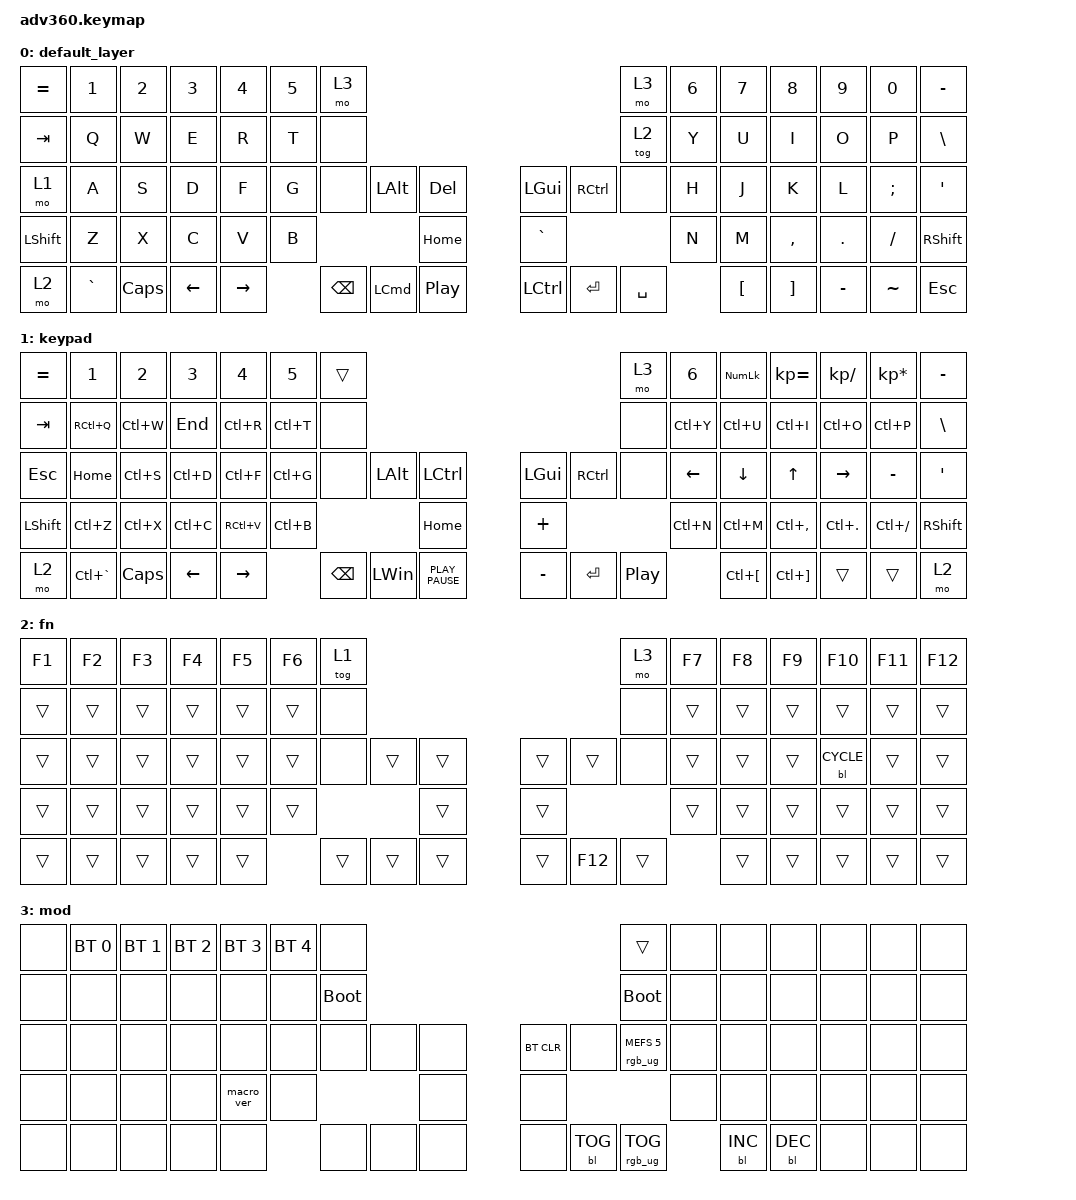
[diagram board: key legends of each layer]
#include <behaviors.dtsi>
#include <dt-bindings/zmk/backlight.h>
#include <dt-bindings/zmk/bt.h>
#include <dt-bindings/zmk/keys.h>
#include <dt-bindings/zmk/rgb.h>

/ {
    behaviors {
        #include "macros.dtsi"
      #include "version.dtsi"
      #ifndef VERSION_MACRO

        macro_ver: macro_ver {
            compatible = "zmk,behavior-macro";
            label = "macro_version";
            #binding-cells = <0>;
            bindings = <&kp RET>;
        };

        #endif

        hm: homerow_mods {
            compatible = "zmk,behavior-hold-tap";
            label = "HOMEROW_MODS";
            #binding-cells = <2>;
            tapping-term-ms = <200>;
            quick_tap_ms = <175>;
            flavor = "tap-preferred";
            bindings = <&kp>, <&kp>;
        };
    };

    macros {
    };

    keymap {
        compatible = "zmk,keymap";

        default_layer {
            bindings = <
&kp EQUAL  &kp N1     &kp N2    &kp N3    &kp N4     &kp N5  &mo 3                                                                      &mo 3      &kp N6  &kp N7            &kp N8             &kp N9     &kp N0     &kp MINUS
&kp TAB    &kp Q      &kp W     &kp E     &kp R      &kp T   &none                                                                      &tog 2     &kp Y   &kp U             &kp I              &kp O      &kp P      &kp BSLH
&mo 1      &kp A      &kp S     &kp D     &kp F      &kp G   &none     &kp LEFT_ALT  &kp DEL               &kp LGUI          &kp RCTRL  &none      &kp H   &kp J             &kp K              &kp L      &kp SEMI   &kp SQT
&kp LSHFT  &kp Z      &kp X     &kp C     &kp V      &kp B                           &kp HOME              &kp GRAVE                               &kp N   &kp M             &kp COMMA          &kp DOT    &kp FSLH   &kp RSHFT
&mo 2      &kp GRAVE  &kp CAPS  &kp LEFT  &kp RIGHT          &kp BSPC  &kp LCMD      &kp C_PLAY_PAUSE      &kp LEFT_CONTROL  &kp ENTER  &kp SPACE          &kp LEFT_BRACKET  &kp RIGHT_BRACKET  &kp MINUS  &kp TILDE  &kp ESCAPE
            >;
        };

        keypad {
            bindings = <
&kp EQUAL  &kp N1         &kp N2     &kp N3     &kp N4     &kp N5     &trans                                                              &mo 3             &kp N6     &kp KP_NUM            &kp KP_EQUAL           &kp KP_DIVIDE   &kp KP_MULTIPLY  &kp MINUS
&kp TAB    &kp RC(Q)      &kp LC(W)  &kp END    &kp LC(R)  &kp LC(T)  &none                                                               &none             &kp LC(Y)  &kp LC(U)             &kp LC(I)              &kp LC(O)       &kp LC(P)        &kp BSLH
&kp ESC    &kp HOME       &kp LC(S)  &kp LC(D)  &kp LC(F)  &kp LC(G)  &none     &kp LEFT_ALT  &kp LEFT_CONTROL      &kp LGUI   &kp RCTRL  &none             &kp LEFT   &kp DOWN              &kp UP_ARROW           &kp RIGHT       &kp MINUS        &kp SQT
&kp LSHFT  &kp LC(Z)      &kp LC(X)  &kp LC(C)  &kp RC(V)  &kp LC(B)                          &kp HOME              &kp PLUS                                &kp LC(N)  &kp LC(M)             &kp LC(COMMA)          &kp LC(PERIOD)  &kp LC(SLASH)    &kp RSHFT
&mo 2      &kp LC(GRAVE)  &kp CAPS   &kp LEFT   &kp RIGHT             &kp BSPC  &kp LEFT_WIN  &kp K_PLAY_PAUSE      &kp MINUS  &kp ENTER  &kp C_PLAY_PAUSE             &kp LC(LEFT_BRACKET)  &kp LC(RIGHT_BRACKET)  &trans          &trans           &mo 2
            >;
        };

        fn {
            bindings = <
&kp F1  &kp F2  &kp F3  &kp F4  &kp F5  &kp F6  &tog 1                                       &mo 3   &kp F7  &kp F8  &kp F9  &kp F10       &kp F11  &kp F12
&trans  &trans  &trans  &trans  &trans  &trans  &none                                        &none   &trans  &trans  &trans  &trans        &trans   &trans
&trans  &trans  &trans  &trans  &trans  &trans  &none   &trans  &trans      &trans  &trans   &none   &trans  &trans  &trans  &bl BL_CYCLE  &trans   &trans
&trans  &trans  &trans  &trans  &trans  &trans                  &trans      &trans                   &trans  &trans  &trans  &trans        &trans   &trans
&trans  &trans  &trans  &trans  &trans          &trans  &trans  &trans      &trans  &kp F12  &trans          &trans  &trans  &trans        &trans   &trans
            >;
        };

        mod {
            bindings = <
&none  &bt BT_SEL 0  &bt BT_SEL 1  &bt BT_SEL 2  &bt BT_SEL 3  &bt BT_SEL 4  &none                                                  &trans                  &none  &none       &none       &none  &none  &none
&none  &none         &none         &none         &none         &none         &bootloader                                            &bootloader             &none  &none       &none       &none  &none  &none
&none  &none         &none         &none         &none         &none         &none        &none  &none      &bt BT_CLR  &none       &rgb_ug RGB_MEFS_CMD 5  &none  &none       &none       &none  &none  &none
&none  &none         &none         &none         &macro_ver    &none                             &none      &none                                           &none  &none       &none       &none  &none  &none
&none  &none         &none         &none         &none                       &none        &none  &none      &none       &bl BL_TOG  &rgb_ug RGB_TOG                &bl BL_INC  &bl BL_DEC  &none  &none  &none
            >;
        };
    };
};
